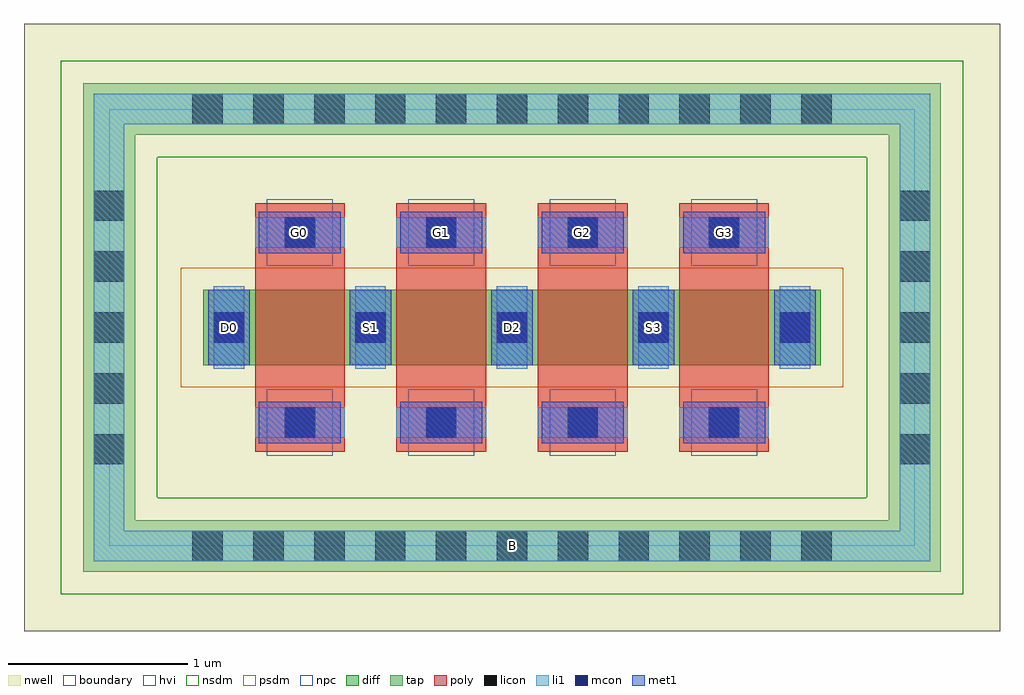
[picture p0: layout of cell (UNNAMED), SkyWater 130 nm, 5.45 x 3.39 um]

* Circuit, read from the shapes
.subckt (UNNAMED) B D0 D2 G0 G1 G2 G3 S1 S3
XM1 S1 G0 D0 B sky130_fd_pr__pfet_g5v0d10v5 w=0.42 l=0.5
XM2 D2 G1 S1 B sky130_fd_pr__pfet_g5v0d10v5 w=0.42 l=0.5
XM3 S3 G2 D2 B sky130_fd_pr__pfet_g5v0d10v5 w=0.42 l=0.5
XM4 n1 G3 S3 B sky130_fd_pr__pfet_g5v0d10v5 w=0.42 l=0.5
.ends

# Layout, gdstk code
import gdstk
lib = gdstk.Library(unit=1e-6, precision=1e-09)
def R(c, l, rs):  # rectangles x0, y0, x1, y1
    for r in rs: c.add(gdstk.rectangle(r[:2], r[2:], *l))
def A(c, l, x, y, w, h, nx, ny, dx, dy):  # array of equal rectangles
    R(c, l, [(x+i*dx, y+j*dy, x+i*dx+w, y+j*dy+h) for i in range(nx) for j in range(ny)])
nwell = (64, 20)
diff = (65, 20)
tap = (65, 44)
poly = (66, 20)
licon = (66, 44)
li1 = (67, 20)
mcon = (67, 44)
met1 = (68, 20)
hvi = (75, 20)
nsdm = (93, 44)
psdm = (94, 20)
npc = (95, 20)
boundary = (235, 4)

c__unnamed_ = lib.new_cell('(UNNAMED)')
R(c__unnamed_, nwell, [(-2.725,-1.695,2.725,1.695)])
R(c__unnamed_, diff, [(-1.725,-0.21,1.725,0.21)])
R(c__unnamed_, tap, [(-2.395,-1.365,2.395,-1.075), (-2.395,-1.075,-2.105,1.075), (2.105,-1.075,2.395,1.075), (-2.395,1.075,2.395,1.365)])
A(c__unnamed_, poly, -1.435, -0.695, 0.5, 1.39, 4, 1, 0.79, 0)
A(c__unnamed_, licon, -1.785, -1.305, 0.17, 0.17, 11, 2, 0.34, 2.44)
A(c__unnamed_, licon, -2.335, -0.765, 0.17, 0.17, 1, 5, 0, 0.34)
A(c__unnamed_, licon, 2.165, -0.765, 0.17, 0.17, 1, 5, 0, 0.34)
A(c__unnamed_, licon, -1.27, -0.615, 0.17, 0.17, 4, 2, 0.79, 1.06)
A(c__unnamed_, licon, -1.665, -0.085, 0.17, 0.17, 5, 1, 0.79, 0)
A(c__unnamed_, li1, -1.435, -0.615, 0.5, 0.17, 4, 2, 0.79, 1.06)
A(c__unnamed_, li1, -1.665, -0.23, 0.17, 0.46, 5, 1, 0.79, 0)
R(c__unnamed_, li1, [(-2.335,-1.305,2.335,-1.135), (-2.335,-1.135,-2.165,1.135), (2.165,-1.135,2.335,1.135), (-2.335,1.135,2.335,1.305)])
A(c__unnamed_, mcon, -1.27, -0.615, 0.17, 0.17, 4, 2, 0.79, 1.06)
A(c__unnamed_, mcon, -1.665, -0.085, 0.17, 0.17, 5, 1, 0.79, 0)
A(c__unnamed_, met1, -1.415, -0.645, 0.46, 0.23, 4, 2, 0.79, 1.06)
A(c__unnamed_, met1, -1.695, -0.21, 0.23, 0.42, 5, 1, 0.79, 0)
R(c__unnamed_, hvi, [(-2.725,-1.695,2.725,1.695)])
R(c__unnamed_, nsdm, [(-2.52,-1.49,2.52,-0.95), (-2.52,-0.95,-1.98,0.95), (1.98,-0.95,2.52,0.95), (-2.52,0.95,2.52,1.49)])
R(c__unnamed_, psdm, [(-1.85,-0.335,1.85,0.335)])
A(c__unnamed_, npc, -1.37, -0.715, 0.37, 0.37, 4, 2, 0.79, 1.06)
R(c__unnamed_, boundary, [(-2.25,-1.22,2.25,1.22)])
c__unnamed_.add(gdstk.Label('B', (0,-1.22), layer=67, texttype=5))
c__unnamed_.add(gdstk.Label('D0', (-1.58,0), layer=67, texttype=5))
c__unnamed_.add(gdstk.Label('G0', (-1.185,0.53), layer=67, texttype=5))
c__unnamed_.add(gdstk.Label('S1', (-0.79,0), layer=67, texttype=5))
c__unnamed_.add(gdstk.Label('G1', (-0.395,0.53), layer=67, texttype=5))
c__unnamed_.add(gdstk.Label('D2', (0,0), layer=67, texttype=5))
c__unnamed_.add(gdstk.Label('G2', (0.395,0.53), layer=67, texttype=5))
c__unnamed_.add(gdstk.Label('S3', (0.79,0), layer=67, texttype=5))
c__unnamed_.add(gdstk.Label('G3', (1.185,0.53), layer=67, texttype=5))

lib.write_gds('_UNNAMED_.gds')
